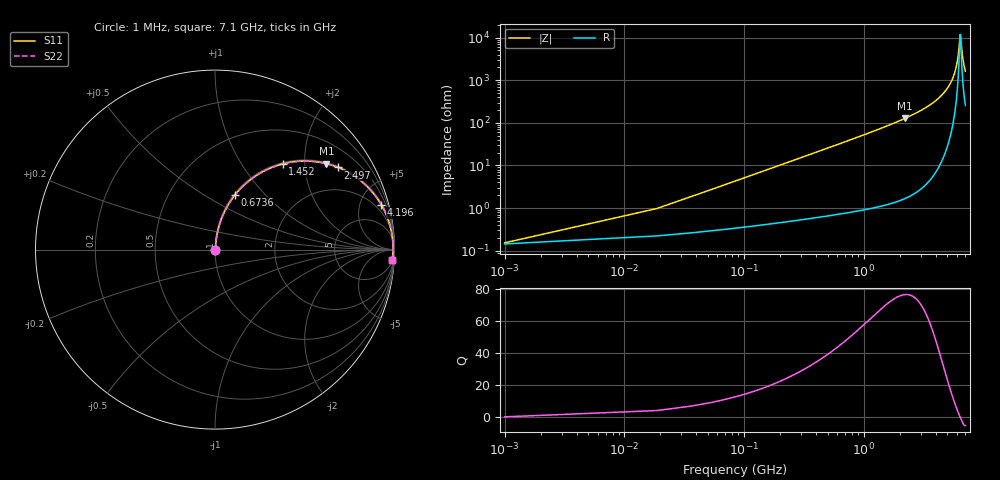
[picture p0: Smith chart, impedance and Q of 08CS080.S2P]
! Coilcraft 0805CS-080 Chip Inductor
! 11 June 2002
# MHZ S MA R 50
!Freq  MagS11  AngS11  MagS21  AngS21  MagS12  AngS12  MagS22  AngS22
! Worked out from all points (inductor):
!   403 points, 1 MHz to 7.1 GHz, reference 50 ohm
!   read as one part in series: L = 8.05 nH near 36.4 MHz
!   highest Q = 76.4 at 2.231 GHz (marker M1), where L = 9.15 nH
!   self-resonance near 6.426 GHz
!   S11 on the Smith chart (normalised r, x): 1 MHz: 1.00, +0.00; 673.6 MHz: 1.01, +0.69; 1.452 GHz: 1.02, +1.55; 2.497 GHz: 1.04, +2.97; 4.196 GHz: 1.17, +7.38; 7.1 GHz: 6, -32
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1  0.001518 19.4  0.9986 -0.0  0.9986 -0.0  0.001518 19.4
54.1  0.02743 82.3  0.9967 -1.6  0.9967 -1.6  0.02743 82.3
71.8  0.03632 82.9  0.9962 -2.1  0.9962 -2.1  0.03632 82.9
107.2  0.05408 83.1  0.9949 -3.1  0.9949 -3.1  0.05408 83.1
160.3  0.08064 82.4  0.9926 -4.6  0.9926 -4.6  0.08064 82.4
355  0.1764 78.1  0.9788 -10.2  0.9788 -10.2  0.1764 78.1
673.6  0.3236 69.9  0.9392 -18.9  0.9392 -18.9  0.3236 69.9
1186.9  0.5241 57.5  0.8433 -31.6  0.8433 -31.6  0.5241 57.5
1452.4  0.6079 51.7  0.7852 -37.4  0.7852 -37.4  0.6079 51.7
2231.2  0.7837 37.7  0.6109 -51.6  0.6109 -51.6  0.7837 37.7
2372.8  0.8066 35.5  0.5807 -53.8  0.5807 -53.8  0.8066 35.5
2496.7  0.8247 33.7  0.5547 -55.6  0.5547 -55.6  0.8247 33.7
3558.7  0.9278 21.0  0.3578 -68.1  0.3578 -68.1  0.9278 21.0
4195.9  0.9596 15.1  0.26 -73.6  0.26 -73.6  0.9596 15.1
4744.6  0.9763 10.7  0.1858 -77.4  0.1858 -77.4  0.9763 10.7
5452.6  0.9879 5.8  0.1013 -80.3  0.1013 -80.3  0.9879 5.8
5930.5  0.9912 2.9  0.05041 -78.5  0.05041 -78.5  0.9912 2.9
6160.6  0.9918 1.5  0.02777 -72.0  0.02777 -72.0  0.9918 1.5
6390.7  0.9918 0.2  0.009289 -27.3  0.009289 -27.3  0.9918 0.2
6443.8  0.9917 -0.0  0.008357 5.1  0.008357 5.1  0.9917 -0.0
6744.7  0.9908 -1.6  0.02986 71.2  0.02986 71.2  0.9908 -1.6
7100  0.9887 -3.4  0.06046 77.6  0.06046 77.6  0.9887 -3.4
